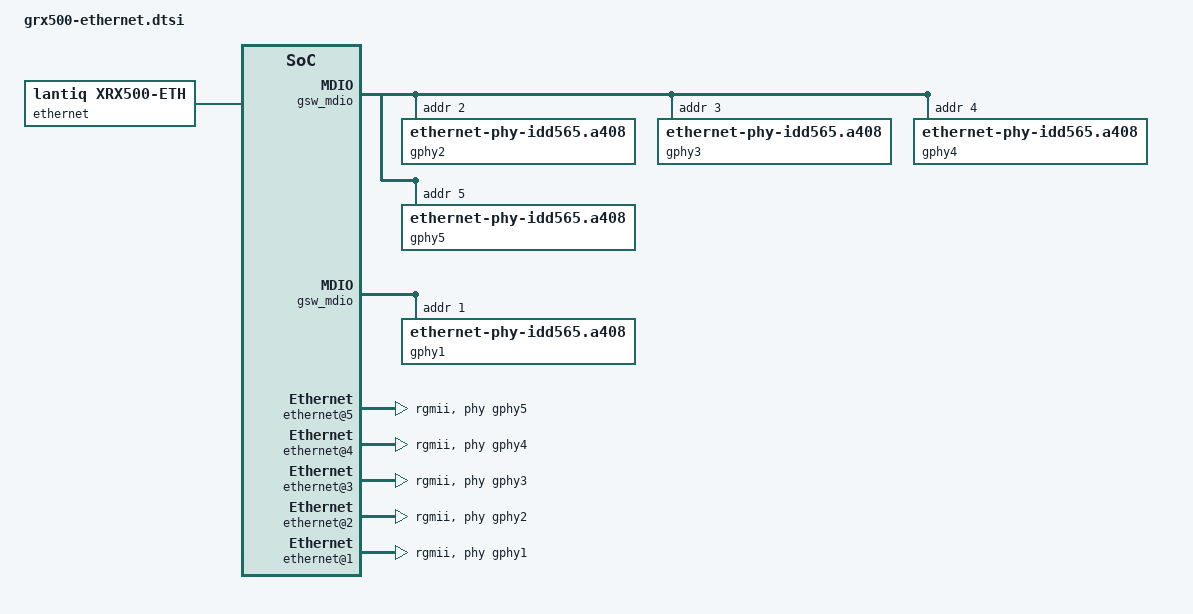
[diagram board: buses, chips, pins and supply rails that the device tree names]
// SPDX-License-Identifier: GPL-2.0-only
/* Intel GRX500 bindings, adapted to AX3000 stock wiring and modern GIC cells. */
/ {
	aliases {
		dma0 = &dma0;
		dma1 = &dma1tx;
		dma2 = &dma1rx;
		dma3 = &dma2tx;
		dma4 = &dma2rx;
		dma5 = &dma3;
		dma6 = &dma4;
	};

	dma0: dma@16e00000 {
		compatible = "lantiq,dma0-grx500";
		reg = <0x16e00000 0x100000>;
		interrupt-parent = <&gic>;
		interrupts = <GIC_SHARED 64 IRQ_TYPE_LEVEL_HIGH>;
		clocks = <&cgu GCLK_DMA0>;
		lantiq,desc-num = <16>;
		lantiq,dma-burst = <2>;
		lantiq,dma-polling-cnt = <4>;
		lantiq,dma-drb = <1>;
		lantiq,budget = <20>;
	};

	cbm: cbm@1e700000 {
		compatible = "lantiq,cbm-xrx500";
		reg = <0x1e700000 0x1000>, <0x1e710000 0x10000>,
		      <0x1e720000 0x4000>, <0x1e730000 0x14000>,
		      <0x1e750000 0x400>, <0x1e750800 0x400>,
		      <0x1e760000 0x10000>, <0x1e780000 0x20000>,
		      <0x1e7c0000 0x30000>, <0x1e800000 0x100000>,
		      <0x1e900000 0x100000>, <0x1e500000 0x100000>;
		interrupt-parent = <&gic>;
		interrupts = <GIC_SHARED 174 IRQ_TYPE_LEVEL_HIGH>,
			<GIC_SHARED 178 IRQ_TYPE_LEVEL_HIGH>,
			<GIC_SHARED 179 IRQ_TYPE_LEVEL_HIGH>,
			<GIC_SHARED 180 IRQ_TYPE_LEVEL_HIGH>,
			<GIC_SHARED 181 IRQ_TYPE_LEVEL_HIGH>;
		clocks = <&cgu CLK_CBM>, <&cgu GCLK_CBM>;
		clock-names = "freq", "cbm";
		intel,highprio-lan = <1>;
	};

	gphy_fw: phy@1c003c00 {
		compatible = "lantiq,phy-xrx500";
		reg = <0x1c003c00 0x400>;
		resets = <&rcu 0x10 29>, <&rcu 0x10 28>, <&rcu 0x10 26>,
			 <&rcu 0x10 25>, <&rcu 0x10 31>;
		reset-names = "phy0", "phy1", "phy2", "phy3", "phy4";
	};

	dma1tx: dma@1a100000 {
		compatible = "lantiq,dma-grx500";
		reg = <0x1a100000 0x100000>;
		interrupt-parent = <&gic>;
		interrupts = <GIC_SHARED 65 IRQ_TYPE_LEVEL_HIGH>;
		lantiq,dma-pkt-arb = <2>;
		lantiq,dma-burst = <16>;
		lantiq,dma-polling-cnt = <108>;
		lantiq,dma-chan-fc = <1>;
		lantiq,dma-desc-fod = <1>;
		lantiq,dma-desc-in-sram = <1>;
		lantiq,dma-lab-cnt = <2>;
		lantiq,dma-drb = <0>;
		lantiq,dma-byte-en = <1>;
		lantiq,dma-txendi = <3>;
		lantiq,dma-rxendi = <3>;
		lantiq,budget = <20>;
	};

	dma1rx: dma@1a200000 {
		compatible = "lantiq,dma-grx500";
		reg = <0x1a200000 0x100000>;
		interrupt-parent = <&gic>;
		interrupts = <GIC_SHARED 66 IRQ_TYPE_LEVEL_HIGH>;
		lantiq,dma-pkt-arb = <2>;
		lantiq,dma-burst = <16>;
		lantiq,dma-polling-cnt = <24>;
		lantiq,dma-chan-fc = <0>;
		lantiq,dma-desc-fod = <1>;
		lantiq,dma-desc-in-sram = <0>;
		lantiq,dma-drb = <0>;
		lantiq,dma-byte-en = <0>;
		lantiq,dma-txendi = <3>;
		lantiq,dma-rxendi = <3>;
		lantiq,budget = <20>;
	};

	dma2tx: dma@1c100000 {
		compatible = "lantiq,dma-grx500";
		reg = <0x1c100000 0x100000>;
		interrupt-parent = <&gic>;
		interrupts = <GIC_SHARED 67 IRQ_TYPE_LEVEL_HIGH>;
		lantiq,dma-pkt-arb = <2>;
		lantiq,dma-burst = <16>;
		lantiq,dma-polling-cnt = <24>;
		lantiq,dma-chan-fc = <1>;
		lantiq,dma-desc-fod = <1>;
		lantiq,dma-desc-in-sram = <0>;
		lantiq,dma-drb = <0>;
		lantiq,dma-byte-en = <1>;
		lantiq,dma-txendi = <3>;
		lantiq,dma-rxendi = <3>;
		lantiq,budget = <20>;
	};

	dma2rx: dma@1c200000 {
		compatible = "lantiq,dma-grx500";
		reg = <0x1c200000 0x100000>;
		interrupt-parent = <&gic>;
		interrupts = <GIC_SHARED 68 IRQ_TYPE_LEVEL_HIGH>;
		lantiq,dma-pkt-arb = <2>;
		lantiq,dma-burst = <16>;
		lantiq,dma-polling-cnt = <24>;
		lantiq,dma-chan-fc = <0>;
		lantiq,dma-desc-fod = <1>;
		lantiq,dma-desc-in-sram = <1>;
		lantiq,dma-drb = <0>;
		lantiq,dma-byte-en = <1>;
		lantiq,dma-txendi = <3>;
		lantiq,dma-rxendi = <3>;
		lantiq,budget = <20>;
	};

	dma3: dma@1e300000 {
		compatible = "lantiq,dma-grx500";
		reg = <0x1e300000 0x100000>;
		interrupt-parent = <&gic>;
		interrupts = <GIC_SHARED 69 IRQ_TYPE_LEVEL_HIGH>;
		clocks = <&cgu GCLK_TOE>;
		lantiq,dma-pkt-arb = <2>;
		lantiq,dma-burst = <16>;
		lantiq,dma-polling-cnt = <24>;
		lantiq,dma-chan-fc = <0>;
		lantiq,dma-desc-fod = <0>;
		lantiq,dma-desc-in-sram = <1>;
		lantiq,dma-drb = <0>;
		lantiq,dma-byte-en = <1>;
		lantiq,budget = <20>;
	};

	dma4: dma@1e400000 {
		compatible = "lantiq,dma-grx500";
		reg = <0x1e400000 0x100000>;
		interrupt-parent = <&gic>;
		interrupts = <GIC_SHARED 70 IRQ_TYPE_LEVEL_HIGH>;
		lantiq,dma-pkt-arb = <2>;
		lantiq,dma-burst = <16>;
		lantiq,dma-polling-cnt = <24>;
		lantiq,dma-chan-fc = <0>;
		lantiq,dma-desc-fod = <0>;
		lantiq,dma-desc-in-sram = <0>;
		lantiq,dma-drb = <0>;
		status = "disabled";
	};

	gswl: switch@1c000000 {
		compatible = "intel,gswdev";
		reg = <0x1c000000 0x3000>;
		#address-cells = <1>;
		#size-cells = <1>;
		ranges = <0 0x1c000000 0x3000>;
		intel,gsw-devid = <0>;
		gsw_core@0 {
			compatible = "intel,gswl-gswdev";
			reg = <0 0x3000>;
			num_resources = <1>;
			interrupt-parent = <&gic>;
			interrupts = <GIC_SHARED 48 IRQ_TYPE_LEVEL_HIGH>;
			clocks = <&cgu CLK_GSWIP>, <&cgu GCLK_GSWIP>;
			clock-names = "freq", "gate";
			intel,gsw-globalpce-rules = <512>;
			intel,gsw-devid = <0>;
			gsw_mdio {
				#address-cells = <1>;
				#size-cells = <0>;
				gphy2: ethernet-phy@2 {
					reg = <2>;
					compatible = "ethernet-phy-idd565.a408", "ethernet-phy-ieee802.3-c22";
				};
				gphy3: ethernet-phy@3 {
					reg = <3>;
					compatible = "ethernet-phy-idd565.a408", "ethernet-phy-ieee802.3-c22";
				};
				gphy4: ethernet-phy@4 {
					reg = <4>;
					compatible = "ethernet-phy-idd565.a408", "ethernet-phy-ieee802.3-c22";
				};
				gphy5: ethernet-phy@5 {
					reg = <5>;
					compatible = "ethernet-phy-idd565.a408", "ethernet-phy-ieee802.3-c22";
				};
			};
		};
	};

	gswr: switch@1a000000 {
		compatible = "intel,gswdev";
		reg = <0x1a000000 0x3000>;
		#address-cells = <1>;
		#size-cells = <1>;
		ranges = <0 0x1a000000 0x3000>;
		intel,gsw-devid = <1>;
		gsw_core@0 {
			compatible = "intel,gswr-gswdev";
			reg = <0 0x3000>;
			num_resources = <1>;
			interrupt-parent = <&gic>;
			interrupts = <GIC_SHARED 45 IRQ_TYPE_LEVEL_HIGH>;
			clocks = <&cgu CLK_PAE>, <&cgu GCLK_PAE>;
			clock-names = "freq", "gate";
			intel,gsw-globalpce-rules = <512>;
			intel,gsw-devid = <1>;
			gsw_mdio {
				#address-cells = <1>;
				#size-cells = <0>;
				gphy1: ethernet-phy@1 {
					reg = <1>;
					compatible = "ethernet-phy-idd565.a408", "ethernet-phy-ieee802.3-c22";
				};
			};
		};
	};

	ethernet {
		compatible = "lantiq,xrx500-eth";
		#address-cells = <1>;
		#size-cells = <0>;
		lantiq,eth-switch-mode = <2>;
		lantiq,eth-rx-csum-offload = <0>;
		interface@5 {
			compatible = "lantiq,xrx500-pdi";
			reg = <5>;
			label = "lan1";
			intel,dp-dev-port = <5>;
			intel,dp-port-id = <5>;
			#address-cells = <1>;
			#size-cells = <0>;
			ethernet@5 {
				compatible = "lantiq,xrx500-pdi-port";
				reg = <5>;
				phy-mode = "rgmii";
				phy-handle = <&gphy5>;
			};
		};
		interface@4 {
			compatible = "lantiq,xrx500-pdi";
			reg = <4>;
			label = "lan2";
			intel,dp-dev-port = <4>;
			intel,dp-port-id = <4>;
			#address-cells = <1>;
			#size-cells = <0>;
			ethernet@4 {
				compatible = "lantiq,xrx500-pdi-port";
				reg = <4>;
				phy-mode = "rgmii";
				phy-handle = <&gphy4>;
			};
		};
		interface@3 {
			compatible = "lantiq,xrx500-pdi";
			reg = <3>;
			label = "lan3";
			intel,dp-dev-port = <3>;
			intel,dp-port-id = <3>;
			#address-cells = <1>;
			#size-cells = <0>;
			ethernet@3 {
				compatible = "lantiq,xrx500-pdi-port";
				reg = <3>;
				phy-mode = "rgmii";
				phy-handle = <&gphy3>;
			};
		};
		interface@2 {
			compatible = "lantiq,xrx500-pdi";
			reg = <2>;
			label = "lan4";
			intel,dp-dev-port = <2>;
			intel,dp-port-id = <2>;
			#address-cells = <1>;
			#size-cells = <0>;
			ethernet@2 {
				compatible = "lantiq,xrx500-pdi-port";
				reg = <2>;
				phy-mode = "rgmii";
				phy-handle = <&gphy2>;
			};
		};
		interface@f {
			compatible = "lantiq,xrx500-pdi";
			reg = <15>;
			label = "wan";
			intel,dp-dev-port = <15>;
			intel,dp-port-id = <15>;
			#address-cells = <1>;
			#size-cells = <0>;
			lantiq,wan = <1>;
			ethernet@1 {
				compatible = "lantiq,xrx500-pdi-port";
				reg = <1>;
				phy-mode = "rgmii";
				phy-handle = <&gphy1>;
			};
		};
	};
};

&rcu {
	#reset-cells = <2>;
};
